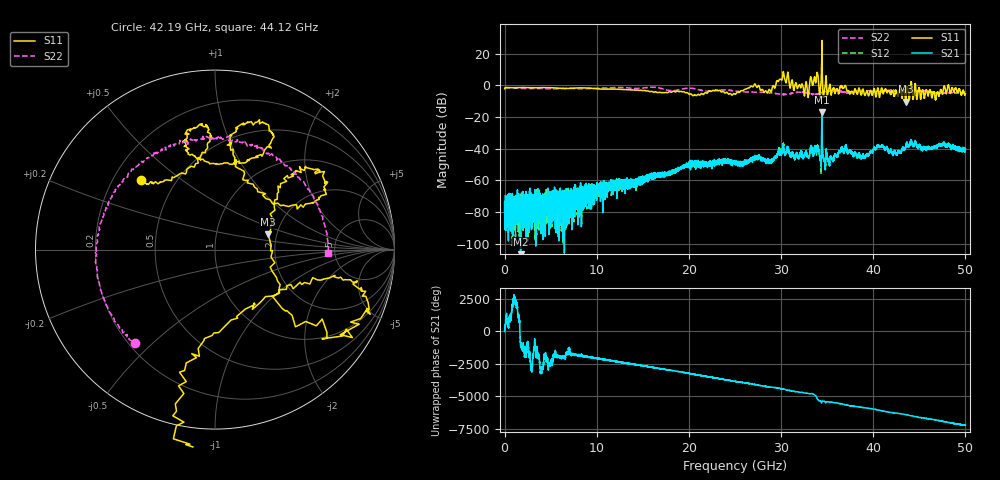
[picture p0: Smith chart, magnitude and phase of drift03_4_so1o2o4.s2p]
!Created with skrf (http://scikit-rf.org).
# Hz S RI R 50.0
!freq ReS11 ImS11 ReS21 ImS21 ReS12 ImS12 ReS22 ImS22
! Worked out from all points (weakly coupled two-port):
!   10000 points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, 5.3 MHz to 50 GHz, reference 50 ohm
!   highest |S21| = -16.91 dB at 34.43 GHz (marker M1); lowest = -113.2 dB at 1.74 GHz (marker M2)
!   lowest |S11| = -10.3 dB at 43.52 GHz (marker M3), VSWR 1.89, Z = 89.7 + j17 ohm
!   |S11| at or under -10 dB: 43.51275 GHz to 43.53291 GHz (20.16 MHz wide, 0.0463 % of centre); 43.53878 GHz to 43.54033 GHz (1.55 MHz wide, 0.00356 % of centre)
!   |S22| runs from -5.8 to -1.1 dB; largest |S21 - S12| = 0.037
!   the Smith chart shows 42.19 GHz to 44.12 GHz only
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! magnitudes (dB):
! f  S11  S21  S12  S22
! 5.3 MHz  -2.1  -74.3  -74.1  -1.3
! 1.74 GHz  -1.3  -113.2  -87.9  -1.9
! 4.94 GHz  -1.4  -71.4  -81.4  -2.1
! 8.34 GHz  -1.5  -73.8  -68.5  -2.1
! 16.67 GHz  -4.4  -56.4  -56.5  -1.5
! 20.48 GHz  -6.4  -50.1  -50.8  -1.9
! 25.01 GHz  -5.5  -49.3  -49.1  -3.6
! 27.02 GHz  -0.4  -46.1  -45.6  -4.3
! 28.72 GHz  -2.5  -48.2  -47.8  -4.6
! 30.14 GHz  4.3  -40.4  -40.2  -5.7
! 32.74 GHz  2.0  -42.1  -42.5  -4.6
! 33.34 GHz  2.4  -39.8  -39.8  -5.6
! 33.82 GHz  3.9  -41.3  -42.4  -5.7
! 34.43 GHz  28.4  -16.9  -18.8  -4.6
! 35.35 GHz  -0.7  -44.8  -45.1  -3.4
! 36.84 GHz  -1.2  -42.2  -42.3  -4.3
! 38.84 GHz  -2.9  -44.3  -44.1  -3.3
! 40.62 GHz  -5.5  -38.5  -38.8  -4.0
! 41.67 GHz  -3.4  -42.4  -42.8  -3.4
! 42.71 GHz  -6.2  -41.8  -41.6  -3.6
! 43.52 GHz  -10.3  -39.1  -39.0  -4.2
! 50 GHz  -5.3  -40.4  -40.9  -4.6
